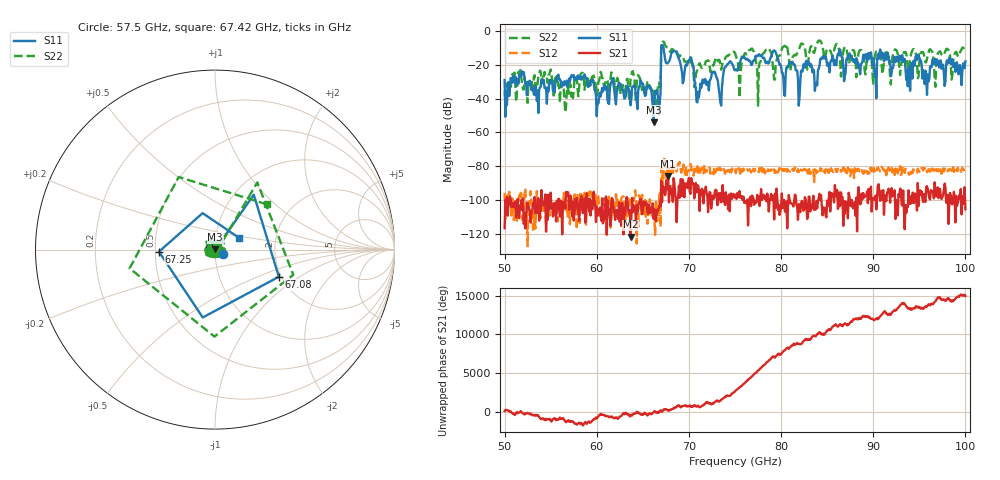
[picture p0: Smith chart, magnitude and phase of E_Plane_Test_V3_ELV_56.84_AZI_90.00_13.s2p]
! 11/26/2026 4:07:58 PM
! C:\ANRITSUVNA\TEMP\TEMP.S2P
! CHANNEL.1
! TR.MEASUREMENT
! RAW.DATA
# HZ S RI R 50.0
! FREQ.HZ  S11RE  S11IM  S21RE  S21IM  S12RE  S12IM  S22RE  S22IM
!; PortSelection: Port_12
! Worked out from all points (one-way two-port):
!   601 points, 50 GHz to 100 GHz, reference 50 ohm
!   highest |S21| = -85.92 dB at 67.75 GHz (marker M1); lowest = -121.9 dB at 63.67 GHz (marker M2)
!   lowest |S11| = -54.0 dB at 66.17 GHz (marker M3), VSWR 1.00, Z = 50.1 + j0.143 ohm
!   |S11| at or under -10 dB: start of sweep to 67 GHz; 67.25 GHz to end of sweep
!   |S22| runs from -48.2 to -5.6 dB; largest |S21 - S12| = 0.00019
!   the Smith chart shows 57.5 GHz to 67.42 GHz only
!   S11 on the Smith chart (normalised r, x): 57.5 GHz: 1.09, -0.05; 67.08 GHz: 1.94, -0.69; 67.25 GHz: 0.52, -0.01; 67.42 GHz: 1.29, +0.18
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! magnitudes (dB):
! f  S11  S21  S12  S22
! 50 GHz  -29.0  -116.9  -95.9  -35.8
! 57.5 GHz  -26.1  -112.3  -101.0  -34.7
! 58.42 GHz  -27.2  -105.4  -98.9  -24.7
! 60.17 GHz  -42.9  -106.1  -97.9  -30.4
! 63.67 GHz  -44.0  -121.9  -101.5  -28.4
! 66.17 GHz  -54.0  -111.3  -108.3  -34.0
! 66.67 GHz  -41.5  -106.4  -109.3  -31.7
! 67.08 GHz  -8.3  -101.4  -81.1  -6.8
! 67.25 GHz  -10.1  -93.8  -84.9  -6.3
! 67.42 GHz  -16.6  -97.2  -80.9  -8.3
! 67.75 GHz  -18.7  -85.9  -83.0  -10.4
! 70.25 GHz  -15.9  -87.1  -80.5  -18.8
! 70.92 GHz  -42.3  -91.3  -80.1  -23.0
! 75 GHz  -23.3  -98.8  -82.0  -13.0
! 79.25 GHz  -11.5  -111.6  -82.0  -28.8
! 80.25 GHz  -27.9  -100.9  -81.8  -9.3
! 83.42 GHz  -24.5  -102.0  -81.8  -10.8
! 91.67 GHz  -16.7  -93.4  -80.7  -15.2
! 93.75 GHz  -32.7  -104.2  -82.9  -21.3
! 94.83 GHz  -15.0  -90.0  -81.5  -27.9
! 95.83 GHz  -37.8  -91.9  -83.5  -16.5
! 100 GHz  -18.0  -105.6  -81.9  -12.6
